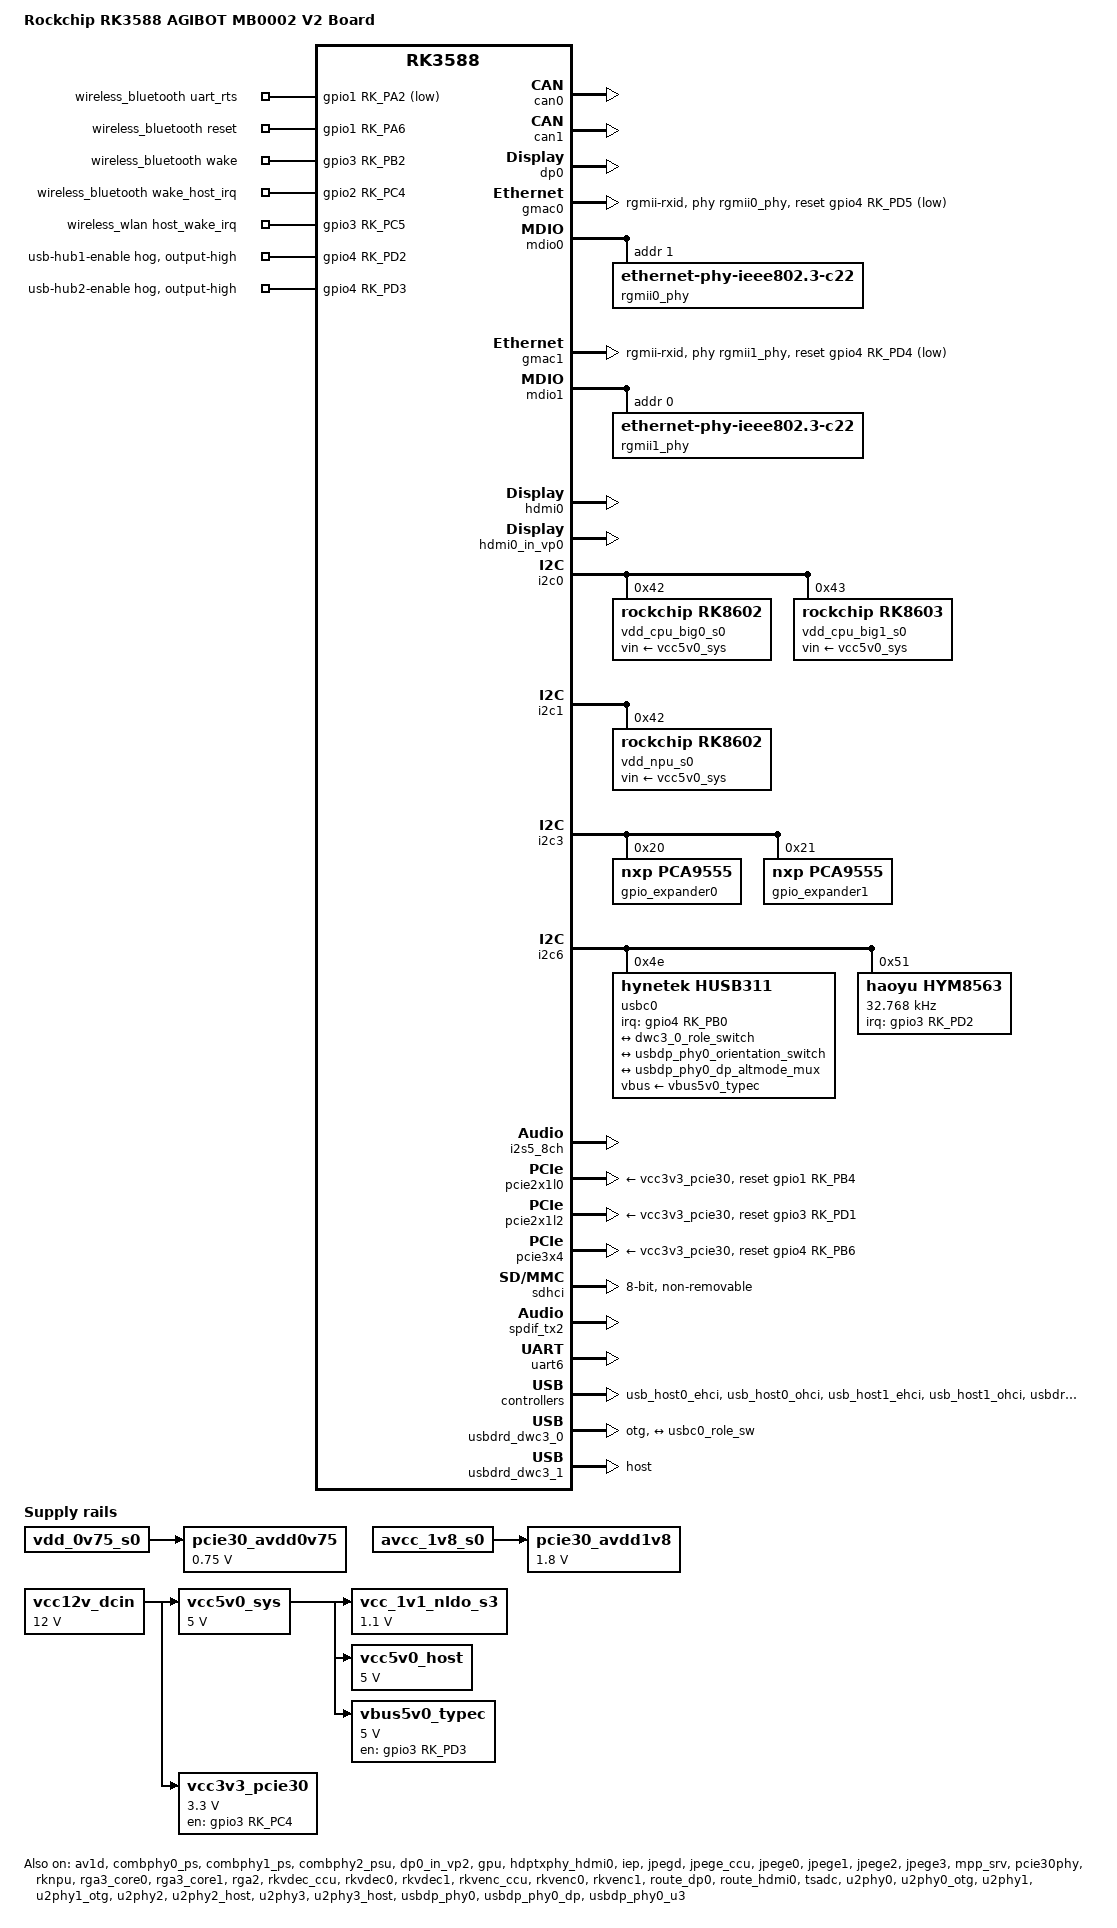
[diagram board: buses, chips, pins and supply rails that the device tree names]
// SPDX-License-Identifier: (GPL-2.0+ OR MIT)
/*
 * Device tree for the AGIBOT MB0002 V2 controller board.
 *
 * This is a native RK3588 BSP 6.1 board description.  It deliberately uses
 * the SoC nodes from rk3588.dtsi, in particular the three-resource 6.1 PCIe
 * host binding, rather than carrying forward a flattened 5.10 device tree.
 */

/dts-v1/;

#include <dt-bindings/gpio/gpio.h>
#include <dt-bindings/pinctrl/rockchip.h>
#include <dt-bindings/usb/pd.h>
#include "rk3588.dtsi"
#include "rk3588-rk806-single.dtsi"
#include "rk3588-linux.dtsi"

/ {
	model = "Rockchip RK3588 AGIBOT MB0002 V2 Board";
	compatible = "rockchip,rk3588-agibot-mb0002-v2", "rockchip,rk3588";
	/delete-node/ chosen;

	aliases {
		ethernet0 = &gmac0;
		ethernet1 = &gmac1;
	};

	/* The board is powered from a regulated 12 V input. */
	vcc12v_dcin: vcc12v-dcin {
		compatible = "regulator-fixed";
		regulator-name = "vcc12v_dcin";
		regulator-always-on;
		regulator-boot-on;
		regulator-min-microvolt = <12000000>;
		regulator-max-microvolt = <12000000>;
	};

	vcc5v0_sys: vcc5v0-sys {
		compatible = "regulator-fixed";
		regulator-name = "vcc5v0_sys";
		regulator-always-on;
		regulator-boot-on;
		regulator-min-microvolt = <5000000>;
		regulator-max-microvolt = <5000000>;
		vin-supply = <&vcc12v_dcin>;
	};

	vcc_1v1_nldo_s3: vcc-1v1-nldo-s3 {
		compatible = "regulator-fixed";
		regulator-name = "vcc_1v1_nldo_s3";
		regulator-always-on;
		regulator-boot-on;
		regulator-min-microvolt = <1100000>;
		regulator-max-microvolt = <1100000>;
		vin-supply = <&vcc5v0_sys>;
	};

	pcie30_avdd0v75: pcie30-avdd0v75 {
		compatible = "regulator-fixed";
		regulator-name = "pcie30_avdd0v75";
		regulator-always-on;
		regulator-boot-on;
		regulator-min-microvolt = <750000>;
		regulator-max-microvolt = <750000>;
		vin-supply = <&vdd_0v75_s0>;
	};

	pcie30_avdd1v8: pcie30-avdd1v8 {
		compatible = "regulator-fixed";
		regulator-name = "pcie30_avdd1v8";
		regulator-always-on;
		regulator-boot-on;
		regulator-min-microvolt = <1800000>;
		regulator-max-microvolt = <1800000>;
		vin-supply = <&avcc_1v8_s0>;
	};

	vcc3v3_pcie30: vcc3v3-pcie30 {
		compatible = "regulator-fixed";
		regulator-name = "vcc3v3_pcie30";
		regulator-min-microvolt = <3300000>;
		regulator-max-microvolt = <3300000>;
		enable-active-high;
		gpio = <&gpio3 RK_PC4 GPIO_ACTIVE_HIGH>;
		pinctrl-names = "default";
		pinctrl-0 = <&pcie30_power_en>;
		startup-delay-us = <7500>;
		vin-supply = <&vcc12v_dcin>;
	};

	vcc5v0_host: vcc5v0-host {
		compatible = "regulator-fixed";
		regulator-name = "vcc5v0_host";
		regulator-always-on;
		regulator-boot-on;
		regulator-min-microvolt = <5000000>;
		regulator-max-microvolt = <5000000>;
		vin-supply = <&vcc5v0_sys>;
	};

	vbus5v0_typec: vbus5v0-typec {
		compatible = "regulator-fixed";
		regulator-name = "vbus5v0_typec";
		regulator-min-microvolt = <5000000>;
		regulator-max-microvolt = <5000000>;
		enable-active-high;
		gpio = <&gpio3 RK_PD3 GPIO_ACTIVE_HIGH>;
		pinctrl-names = "default";
		pinctrl-0 = <&typec_vbus_en>;
		vin-supply = <&vcc5v0_sys>;
	};

	/*
	 * The 5.10 image used a private usbhub_rst driver for GPIO4_D2/D3.
	 * Live reset tests confirmed that D2 and D3 independently gate the two
	 * Genesys USB2/USB3 hubs.  Keep both active-high enables asserted with
	 * standard GPIO hogs.
	 */

	wireless_bluetooth: wireless-bluetooth {
		compatible = "bluetooth-platdata";
		clocks = <&hym8563>;
		clock-names = "ext_clock";
		uart_rts_gpios = <&gpio1 RK_PA2 GPIO_ACTIVE_LOW>;
		pinctrl-names = "default", "rts_gpio";
		pinctrl-0 = <&uart6m1_ctsn &uart6m1_rtsn &bt_gpio>;
		pinctrl-1 = <&uart6_rts_gpio>;
		BT,reset_gpio = <&gpio1 RK_PA6 GPIO_ACTIVE_HIGH>;
		BT,wake_gpio = <&gpio3 RK_PB2 GPIO_ACTIVE_HIGH>;
		BT,wake_host_irq = <&gpio2 RK_PC4 GPIO_ACTIVE_HIGH>;
		status = "okay";
	};

	wireless_wlan: wireless-wlan {
		compatible = "wlan-platdata";
		wifi_chip_type = "ap6275p";
		pinctrl-names = "default";
		pinctrl-0 = <&wifi_host_wake_irq>;
		WIFI,host_wake_irq = <&gpio3 RK_PC5 GPIO_ACTIVE_HIGH>;
		status = "okay";
	};

	hdmi0_sound: hdmi0-sound {
		compatible = "rockchip,hdmi";
		rockchip,mclk-fs = <128>;
		rockchip,card-name = "rockchip-hdmi0";
		rockchip,cpu = <&i2s5_8ch>;
		rockchip,codec = <&hdmi0>;
		rockchip,jack-det;
		status = "okay";
	};

	dp0_sound: dp0-sound {
		compatible = "rockchip,hdmi";
		rockchip,card-name = "rockchip-dp0";
		rockchip,mclk-fs = <512>;
		rockchip,cpu = <&spdif_tx2>;
		rockchip,codec = <&dp0 1>;
		rockchip,jack-det;
		status = "okay";
	};

	/*
	 * The production 5.10 tree contains an acme,acm8625p codec, but the
	 * rk-6.1-rkr5.1 kernel has no matching codec source.  Do not instantiate
	 * it: HDMI/DP audio remains available and the unsupported analogue card
	 * cannot block boot or generate a permanently deferred probe.
	 */
};

&av1d {
	status = "okay";
};

&av1d_mmu {
	status = "okay";
};

&can0 {
	pinctrl-names = "default";
	pinctrl-0 = <&can0m0_pins>;
	status = "okay";
};

&can1 {
	pinctrl-names = "default";
	pinctrl-0 = <&can1m1_pins>;
	status = "okay";
};

&combphy0_ps {
	status = "okay";
};

&combphy1_ps {
	status = "okay";
};

&combphy2_psu {
	status = "okay";
};

&cpu_l0 {
	cpu-supply = <&vdd_cpu_lit_s0>;
	mem-supply = <&vdd_cpu_lit_mem_s0>;
};

&cpu_b0 {
	cpu-supply = <&vdd_cpu_big0_s0>;
	mem-supply = <&vdd_cpu_big0_mem_s0>;
};

&cpu_b2 {
	cpu-supply = <&vdd_cpu_big1_s0>;
	mem-supply = <&vdd_cpu_big1_mem_s0>;
};

&display_subsystem {
	clocks = <&hdptxphy_hdmi0>;
	clock-names = "hdmi0_phy_pll";
};

&dp0 {
	status = "okay";
};

&dp0_in_vp2 {
	status = "okay";
};

&gmac0 {
	phy-mode = "rgmii-rxid";
	clock_in_out = "input";
	snps,reset-gpio = <&gpio4 RK_PD5 GPIO_ACTIVE_LOW>;
	snps,reset-active-low;
	snps,reset-delays-us = <0 20000 100000>;
	pinctrl-names = "default";
	pinctrl-0 = <&gmac0_miim
		     &gmac0_tx_bus2
		     &gmac0_rx_bus2
		     &gmac0_rgmii_clk
		     &gmac0_rgmii_bus
		     &gmac0_clkinout>;
	tx_delay = <0x43>;
	phy-handle = <&rgmii0_phy>;
	status = "okay";
};

&mdio0 {
	rgmii0_phy: ethernet-phy@1 {
		compatible = "ethernet-phy-ieee802.3-c22";
		reg = <1>;
	};
};

&gmac1 {
	phy-mode = "rgmii-rxid";
	clock_in_out = "input";
	snps,reset-gpio = <&gpio4 RK_PD4 GPIO_ACTIVE_LOW>;
	snps,reset-active-low;
	snps,reset-delays-us = <0 20000 100000>;
	pinctrl-names = "default";
	pinctrl-0 = <&gmac1_miim
		     &gmac1_tx_bus2
		     &gmac1_rx_bus2
		     &gmac1_rgmii_clk
		     &gmac1_rgmii_bus
		     &gmac1_clkinout>;
	tx_delay = <0x42>;
	phy-handle = <&rgmii1_phy>;
	status = "okay";
};

&mdio1 {
	rgmii1_phy: ethernet-phy@0 {
		compatible = "ethernet-phy-ieee802.3-c22";
		reg = <0>;
	};
};

&gpu {
	mali-supply = <&vdd_gpu_s0>;
	mem-supply = <&vdd_gpu_mem_s0>;
	status = "okay";
};

&hdmi0 {
	enable-gpios = <&gpio4 RK_PB1 GPIO_ACTIVE_HIGH>;
	status = "okay";
};

&hdmi0_in_vp0 {
	status = "okay";
};

&hdptxphy0 {
	status = "disabled";
};

&hdptxphy_hdmi0 {
	status = "okay";
};

&i2c0 {
	pinctrl-names = "default";
	pinctrl-0 = <&i2c0m2_xfer>;
	status = "okay";

	vdd_cpu_big0_s0: vdd_cpu_big0_mem_s0: regulator@42 {
		compatible = "rockchip,rk8602";
		reg = <0x42>;
		vin-supply = <&vcc5v0_sys>;
		regulator-compatible = "rk860x-reg";
		regulator-name = "vdd_cpu_big0_s0";
		regulator-min-microvolt = <550000>;
		regulator-max-microvolt = <1050000>;
		regulator-ramp-delay = <2300>;
		rockchip,suspend-voltage-selector = <1>;
		regulator-always-on;
		regulator-boot-on;

		regulator-state-mem {
			regulator-off-in-suspend;
		};
	};

	vdd_cpu_big1_s0: vdd_cpu_big1_mem_s0: regulator@43 {
		compatible = "rockchip,rk8603";
		reg = <0x43>;
		vin-supply = <&vcc5v0_sys>;
		regulator-compatible = "rk860x-reg";
		regulator-name = "vdd_cpu_big1_s0";
		regulator-min-microvolt = <550000>;
		regulator-max-microvolt = <1050000>;
		regulator-ramp-delay = <2300>;
		rockchip,suspend-voltage-selector = <1>;
		regulator-always-on;
		regulator-boot-on;

		regulator-state-mem {
			regulator-off-in-suspend;
		};
	};
};

&i2c1 {
	pinctrl-names = "default";
	pinctrl-0 = <&i2c1m2_xfer>;
	status = "okay";

	vdd_npu_s0: vdd_npu_mem_s0: regulator@42 {
		compatible = "rockchip,rk8602";
		reg = <0x42>;
		vin-supply = <&vcc5v0_sys>;
		regulator-compatible = "rk860x-reg";
		regulator-name = "vdd_npu_s0";
		regulator-min-microvolt = <550000>;
		regulator-max-microvolt = <950000>;
		regulator-ramp-delay = <2300>;
		rockchip,suspend-voltage-selector = <1>;
		regulator-always-on;
		regulator-boot-on;

		regulator-state-mem {
			regulator-off-in-suspend;
		};
	};

	/* acme,acm8625p intentionally disabled: no 6.1 driver source. */
	acm8625p: audio-codec@15 {
		compatible = "acme,acm8625p";
		reg = <0x15>;
		status = "disabled";
	};
};

&i2c3 {
	pinctrl-0 = <&i2c3m4_xfer>;
	status = "okay";

	gpio_expander0: gpio@20 {
		compatible = "nxp,pca9555";
		reg = <0x20>;
		gpio-controller;
		#gpio-cells = <2>;
	};

	gpio_expander1: gpio@21 {
		compatible = "nxp,pca9555";
		reg = <0x21>;
		gpio-controller;
		#gpio-cells = <2>;
	};
};

&i2c6 {
	pinctrl-names = "default";
	pinctrl-0 = <&i2c6m0_xfer>;
	status = "okay";

	usbc0: typec-portc@4e {
		compatible = "hynetek,husb311";
		reg = <0x4e>;
		interrupt-parent = <&gpio4>;
		interrupts = <RK_PB0 IRQ_TYPE_LEVEL_LOW>;
		pinctrl-names = "default";
		pinctrl-0 = <&usbc0_int>;
		vbus-supply = <&vbus5v0_typec>;
		wakeup-source;
		status = "okay";

		ports {
			#address-cells = <1>;
			#size-cells = <0>;

			port@0 {
				reg = <0>;

				usbc0_role_sw: endpoint {
					remote-endpoint = <&dwc3_0_role_switch>;
				};
			};
		};

		connector {
			compatible = "usb-c-connector";
			label = "USB-C";
			data-role = "dual";
			power-role = "dual";
			try-power-role = "sink";
			op-sink-microwatt = <1000000>;
			sink-pdos = <PDO_FIXED(5000, 1000, PDO_FIXED_USB_COMM)>;
			source-pdos = <PDO_FIXED(5000, 3000, PDO_FIXED_USB_COMM)>;

			altmodes {
				#address-cells = <1>;
				#size-cells = <0>;

				altmode@0 {
					reg = <0>;
					svid = <0xff01>;
					vdo = <0xffffffff>;
				};
			};

			ports {
				#address-cells = <1>;
				#size-cells = <0>;

				port@0 {
					reg = <0>;

					usbc0_orien_sw: endpoint {
						remote-endpoint = <&usbdp_phy0_orientation_switch>;
					};
				};

				port@1 {
					reg = <1>;

					dp_altmode_mux: endpoint {
						remote-endpoint = <&usbdp_phy0_dp_altmode_mux>;
					};
				};
			};
		};
	};

	hym8563: rtc@51 {
		compatible = "haoyu,hym8563";
		reg = <0x51>;
		#clock-cells = <0>;
		clock-frequency = <32768>;
		clock-output-names = "hym8563";
		interrupt-parent = <&gpio3>;
		interrupts = <RK_PD2 IRQ_TYPE_LEVEL_LOW>;
		pinctrl-names = "default";
		pinctrl-0 = <&hym8563_int>;
		wakeup-source;
	};
};

&i2s5_8ch {
	status = "okay";
};

&iep {
	status = "okay";
};

&iep_mmu {
	status = "okay";
};

&jpegd {
	status = "okay";
};

&jpegd_mmu {
	status = "okay";
};

&jpege_ccu {
	status = "okay";
};

&jpege0 {
	status = "okay";
};

&jpege0_mmu {
	status = "okay";
};

&jpege1 {
	status = "okay";
};

&jpege1_mmu {
	status = "okay";
};

&jpege2 {
	status = "okay";
};

&jpege2_mmu {
	status = "okay";
};

&jpege3 {
	status = "okay";
};

&jpege3_mmu {
	status = "okay";
};

&mpp_srv {
	status = "okay";
};

&pcie2x1l0 {
	reset-gpios = <&gpio1 RK_PB4 GPIO_ACTIVE_HIGH>;
	vpcie3v3-supply = <&vcc3v3_pcie30>;
	rockchip,skip-scan-in-resume;
	status = "okay";
};

&pcie2x1l2 {
	reset-gpios = <&gpio3 RK_PD1 GPIO_ACTIVE_HIGH>;
	vpcie3v3-supply = <&vcc3v3_pcie30>;
	rockchip,skip-scan-in-resume;
	status = "okay";
};

&pcie3x4 {
	reset-gpios = <&gpio4 RK_PB6 GPIO_ACTIVE_HIGH>;
	vpcie3v3-supply = <&vcc3v3_pcie30>;
	status = "okay";
};

&pcie30phy {
	rockchip,pcie30-phymode = <PHY_MODE_PCIE_AGGREGATION>;
	status = "okay";
};

&pinctrl {
	agibot {
		bt_gpio: bt-gpio {
			rockchip,pins =
				<1 RK_PA6 RK_FUNC_GPIO &pcfg_pull_none>,
				<3 RK_PB2 RK_FUNC_GPIO &pcfg_pull_up>,
				<2 RK_PC4 RK_FUNC_GPIO &pcfg_pull_down>;
		};

		hym8563_int: hym8563-int {
			rockchip,pins = <3 RK_PD2 RK_FUNC_GPIO &pcfg_pull_up>;
		};

		pcie30_power_en: pcie30-power-en {
			rockchip,pins = <3 RK_PC4 RK_FUNC_GPIO &pcfg_pull_none>;
		};

		typec_vbus_en: typec-vbus-en {
			rockchip,pins = <3 RK_PD3 RK_FUNC_GPIO &pcfg_pull_none>;
		};

		uart6_rts_gpio: uart6-rts-gpio {
			rockchip,pins = <1 RK_PA2 RK_FUNC_GPIO &pcfg_pull_none>;
		};

		usbc0_int: usbc0-int {
			rockchip,pins = <4 RK_PB0 RK_FUNC_GPIO &pcfg_pull_up>;
		};

		wifi_host_wake_irq: wifi-host-wake-irq {
			rockchip,pins = <3 RK_PC5 RK_FUNC_GPIO &pcfg_pull_down>;
		};

		wifi_poweren_gpio: wifi-poweren-gpio {
			rockchip,pins = <3 RK_PC4 RK_FUNC_GPIO &pcfg_pull_up>;
		};
	};
};

&gpio4 {
	usb_hub_enable_hog: usb-hub-enable-hog {
		gpio-hog;
		gpios = <RK_PD2 GPIO_ACTIVE_HIGH>;
		output-high;
		line-name = "usb-hub1-enable";
	};

	usb_hub2_enable_hog: usb-hub2-enable-hog {
		gpio-hog;
		gpios = <RK_PD3 GPIO_ACTIVE_HIGH>;
		output-high;
		line-name = "usb-hub2-enable";
	};
};

&rknpu {
	rknpu-supply = <&vdd_npu_s0>;
	mem-supply = <&vdd_npu_mem_s0>;
	status = "okay";
};

&rknpu_mmu {
	status = "okay";
};

&rga3_core0 {
	status = "okay";
};

&rga3_0_mmu {
	status = "okay";
};

&rga3_core1 {
	status = "okay";
};

&rga3_1_mmu {
	status = "okay";
};

&rga2 {
	status = "okay";
};

&rkvdec_ccu {
	status = "okay";
};

&rkvdec0 {
	status = "okay";
};

&rkvdec0_mmu {
	status = "okay";
};

&rkvdec1 {
	status = "okay";
};

&rkvdec1_mmu {
	status = "okay";
};

&rkvenc_ccu {
	status = "okay";
};

&rkvenc0 {
	venc-supply = <&vdd_vdenc_s0>;
	mem-supply = <&vdd_vdenc_mem_s0>;
	status = "okay";
};

&rkvenc0_mmu {
	status = "okay";
};

&rkvenc1 {
	venc-supply = <&vdd_vdenc_s0>;
	mem-supply = <&vdd_vdenc_mem_s0>;
	status = "okay";
};

&rkvenc1_mmu {
	status = "okay";
};

&route_dp0 {
	connect = <&vp2_out_dp0>;
	status = "okay";
};

&route_hdmi0 {
	connect = <&vp0_out_hdmi0>;
	status = "okay";
};

&sdhci {
	bus-width = <8>;
	no-sdio;
	no-sd;
	non-removable;
	max-frequency = <200000000>;
	mmc-hs400-1_8v;
	mmc-hs400-enhanced-strobe;
	status = "okay";
};

&spdif_tx2 {
	status = "okay";
};

&tsadc {
	status = "okay";
};

&u2phy0 {
	status = "okay";
};

&u2phy0_otg {
	rockchip,typec-vbus-det;
	status = "okay";
};

&u2phy1 {
	status = "okay";
};

&u2phy1_otg {
	phy-supply = <&vcc5v0_host>;
	status = "okay";
};

&u2phy2 {
	status = "okay";
};

&u2phy2_host {
	phy-supply = <&vcc5v0_host>;
	status = "okay";
};

&u2phy3 {
	status = "okay";
};

&u2phy3_host {
	phy-supply = <&vcc5v0_host>;
	status = "okay";
};

&uart6 {
	dma-names = "tx", "rx";
	pinctrl-names = "default";
	pinctrl-0 = <&uart6m1_xfer>;
	status = "okay";
};

&usb_host0_ehci {
	status = "okay";
};

&usb_host0_ohci {
	status = "okay";
};

&usb_host1_ehci {
	status = "okay";
};

&usb_host1_ohci {
	status = "okay";
};

&usbdp_phy0 {
	orientation-switch;
	svid = <0xff01>;
	sbu1-dc-gpios = <&gpio4 RK_PA3 GPIO_ACTIVE_HIGH>;
	sbu2-dc-gpios = <&gpio4 RK_PA7 GPIO_ACTIVE_HIGH>;
	status = "okay";

	port {
		#address-cells = <1>;
		#size-cells = <0>;

		usbdp_phy0_orientation_switch: endpoint@0 {
			reg = <0>;
			remote-endpoint = <&usbc0_orien_sw>;
		};

		usbdp_phy0_dp_altmode_mux: endpoint@1 {
			reg = <1>;
			remote-endpoint = <&dp_altmode_mux>;
		};
	};
};

&usbdp_phy0_dp {
	status = "okay";
};

&usbdp_phy0_u3 {
	status = "okay";
};

&usbdrd3_0 {
	status = "okay";
};

&usbdrd_dwc3_0 {
	dr_mode = "otg";
	usb-role-switch;
	status = "okay";

	port {
		#address-cells = <1>;
		#size-cells = <0>;

		dwc3_0_role_switch: endpoint@0 {
			reg = <0>;
			remote-endpoint = <&usbc0_role_sw>;
		};
	};
};

&usbdp_phy1 {
	status = "okay";
};

&usbdp_phy1_u3 {
	status = "okay";
};

&usbdrd3_1 {
	status = "okay";
};

&usbdrd_dwc3_1 {
	dr_mode = "host";
	status = "okay";
};

&usbhost3_0 {
	status = "okay";
};

&usbhost_dwc3_0 {
	status = "okay";
};

&vdpu {
	status = "okay";
};

&vdpu_mmu {
	status = "okay";
};

&vepu {
	status = "okay";
};

&vop {
	vop-supply = <&vdd_log_s0>;
	status = "okay";
};

&vop_mmu {
	status = "okay";
};

&vp0 {
	rockchip,plane-mask = <0x5>;
	rockchip,primary-plane = <2>;
};

&vp1 {
	rockchip,plane-mask = <0xa>;
	rockchip,primary-plane = <3>;
};

&vp2 {
	rockchip,plane-mask = <0x140>;
	rockchip,primary-plane = <8>;
};

&vp3 {
	rockchip,plane-mask = <0x280>;
	rockchip,primary-plane = <9>;
};

&wdt {
	status = "okay";
};
